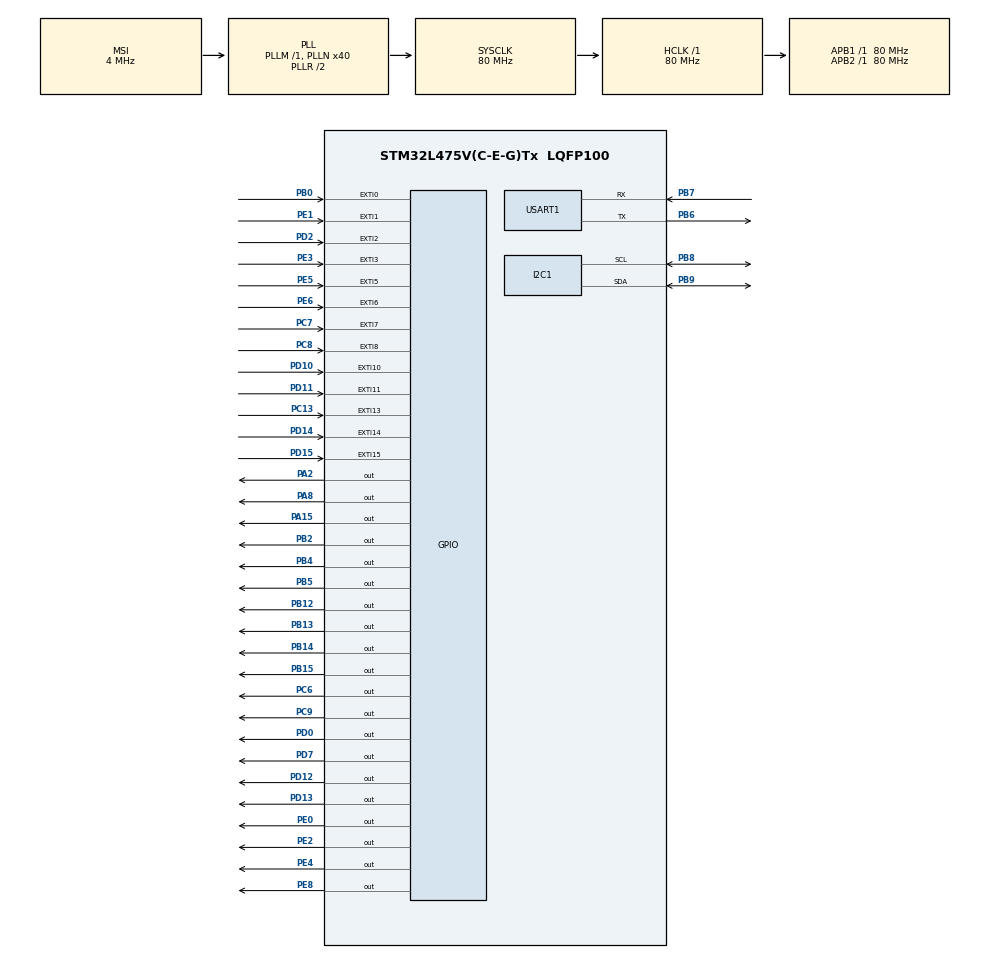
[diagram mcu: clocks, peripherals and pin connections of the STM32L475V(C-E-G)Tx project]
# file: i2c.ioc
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I2C1.Timing=0x10909CEC
Mcu.Family=STM32L4
Mcu.Name=STM32L475V(C-E-G)Tx
Mcu.Package=LQFP100
NVIC.EXTI15_10_IRQn=true\:0\:0\:false\:false\:true\:true\:true
NVIC.EXTI9_5_IRQn=true\:0\:0\:false\:false\:true\:true\:true
NVIC.PriorityGroup=NVIC_PRIORITYGROUP_4
PA0.GPIO_ModeDefaultPP=GPIO_MODE_AF_PP
PA0.GPIO_PuPd=GPIO_NOPULL
PA0.GPIO_Speed=GPIO_SPEED_FREQ_VERY_HIGH
PA0.Signal=UART4_TX
PA1.GPIO_ModeDefaultPP=GPIO_MODE_AF_PP
PA1.GPIO_PuPd=GPIO_NOPULL
PA1.GPIO_Speed=GPIO_SPEED_FREQ_VERY_HIGH
PA1.Signal=UART4_RX
PA10.GPIO_Mode=GPIO_MODE_AF_PP
PA10.GPIO_PuPd=GPIO_NOPULL
PA10.GPIO_Speed=GPIO_SPEED_FREQ_VERY_HIGH
PA10.Signal=USB_OTG_FS_ID
PA11.GPIO_Mode=GPIO_MODE_AF_PP
PA11.GPIO_PuPd=GPIO_NOPULL
PA11.GPIO_Speed=GPIO_SPEED_FREQ_VERY_HIGH
PA11.Signal=USB_OTG_FS_DM
PA12.GPIO_Mode=GPIO_MODE_AF_PP
PA12.GPIO_PuPd=GPIO_NOPULL
PA12.GPIO_Speed=GPIO_SPEED_FREQ_VERY_HIGH
PA12.Signal=USB_OTG_FS_DP
PA13\ (JTMS-SWDIO).Mode=Serial_Wire
PA13\ (JTMS-SWDIO).Signal=SYS_JTMS-SWDIO
PA14\ (JTCK-SWCLK).Mode=Serial_Wire
PA14\ (JTCK-SWCLK).Signal=SYS_JTCK-SWCLK
PA15\ (JTDI).GPIO_ModeDefaultOutputPP=GPIO_MODE_OUTPUT_PP
PA15\ (JTDI).GPIO_PuPd=GPIO_NOPULL
PA15\ (JTDI).GPIO_Speed=GPIO_SPEED_FREQ_LOW
PA15\ (JTDI).PinState=GPIO_PIN_RESET
PA15\ (JTDI).Signal=GPIO_Output
PA2.GPIO_ModeDefaultOutputPP=GPIO_MODE_OUTPUT_PP
PA2.GPIO_PuPd=GPIO_NOPULL
PA2.GPIO_Speed=GPIO_SPEED_FREQ_LOW
PA2.PinState=GPIO_PIN_RESET
PA2.Signal=GPIO_Output
PA3.GPIO_ModeDefaultPP=GPIO_MODE_AF_PP
PA3.GPIO_PuPd=GPIO_NOPULL
PA3.GPIO_Speed=GPIO_SPEED_FREQ_LOW
PA3.Signal=S_TIM2_CH4
PA4.GPIO_Mode=GPIO_MODE_ANALOG_ADC_CONTROL
PA4.GPIO_PuPd=GPIO_NOPULL
PA4.Signal=ADCx_IN9
PA5.GPIO_Mode=GPIO_MODE_AF_PP
PA5.GPIO_PuPd=GPIO_NOPULL
PA5.GPIO_Speed=GPIO_SPEED_FREQ_VERY_HIGH
PA5.Signal=SPI1_SCK
PA6.GPIO_Mode=GPIO_MODE_AF_PP
PA6.GPIO_PuPd=GPIO_NOPULL
PA6.GPIO_Speed=GPIO_SPEED_FREQ_VERY_HIGH
PA6.Signal=SPI1_MISO
PA7.GPIO_Mode=GPIO_MODE_AF_PP
PA7.GPIO_PuPd=GPIO_NOPULL
PA7.GPIO_Speed=GPIO_SPEED_FREQ_VERY_HIGH
PA7.Signal=SPI1_MOSI
PA8.GPIO_ModeDefaultOutputPP=GPIO_MODE_OUTPUT_PP
PA8.GPIO_PuPd=GPIO_NOPULL
PA8.GPIO_Speed=GPIO_SPEED_FREQ_LOW
PA8.PinState=GPIO_PIN_RESET
PA8.Signal=GPIO_Output
PA9.GPIO_Mode=GPIO_MODE_INPUT
PA9.GPIO_PuPd=GPIO_NOPULL
PA9.Signal=USB_OTG_FS_VBUS
PB0.GPIO_ModeDefaultEXTI=GPIO_MODE_IT_RISING
PB0.GPIO_PuPd=GPIO_NOPULL
PB0.Signal=GPXTI0
PB1.GPIO_Mode=GPIO_MODE_ANALOG_ADC_CONTROL
PB1.GPIO_PuPd=GPIO_NOPULL
PB1.Signal=ADCx_IN16
PB12.GPIO_ModeDefaultOutputPP=GPIO_MODE_OUTPUT_PP
PB12.GPIO_PuPd=GPIO_NOPULL
PB12.GPIO_Speed=GPIO_SPEED_FREQ_LOW
PB12.PinState=GPIO_PIN_RESET
PB12.Signal=GPIO_Output
PB13.GPIO_ModeDefaultOutputPP=GPIO_MODE_OUTPUT_PP
PB13.GPIO_PuPd=GPIO_NOPULL
PB13.GPIO_Speed=GPIO_SPEED_FREQ_LOW
PB13.PinState=GPIO_PIN_RESET
PB13.Signal=GPIO_Output
PB14.GPIO_ModeDefaultOutputPP=GPIO_MODE_OUTPUT_PP
PB14.GPIO_PuPd=GPIO_NOPULL
PB14.GPIO_Speed=GPIO_SPEED_FREQ_LOW
PB14.PinState=GPIO_PIN_RESET
PB14.Signal=GPIO_Output
PB15.GPIO_ModeDefaultOutputPP=GPIO_MODE_OUTPUT_PP
PB15.GPIO_PuPd=GPIO_NOPULL
PB15.GPIO_Speed=GPIO_SPEED_FREQ_LOW
PB15.PinState=GPIO_PIN_RESET
PB15.Signal=GPIO_Output
PB2.GPIO_ModeDefaultOutputPP=GPIO_MODE_OUTPUT_PP
PB2.GPIO_PuPd=GPIO_NOPULL
PB2.GPIO_Speed=GPIO_SPEED_FREQ_LOW
PB2.PinState=GPIO_PIN_RESET
PB2.Signal=GPIO_Output
PB3\ (JTDO-TRACESWO).Signal=SYS_JTDO-SWO
PB4\ (NJTRST).GPIO_ModeDefaultOutputPP=GPIO_MODE_OUTPUT_PP
PB4\ (NJTRST).GPIO_PuPd=GPIO_NOPULL
PB4\ (NJTRST).GPIO_Speed=GPIO_SPEED_FREQ_LOW
PB4\ (NJTRST).PinState=GPIO_PIN_RESET
PB4\ (NJTRST).Signal=GPIO_Output
PB5.GPIO_ModeDefaultOutputPP=GPIO_MODE_OUTPUT_PP
PB5.GPIO_PuPd=GPIO_NOPULL
PB5.GPIO_Speed=GPIO_SPEED_FREQ_LOW
PB5.PinState=GPIO_PIN_RESET
PB5.Signal=GPIO_Output
PB6.GPIO_FM6=__NULL
PB6.GPIO_ModeDefaultPP=GPIO_MODE_AF_PP
PB6.GPIO_PuPd=GPIO_NOPULL
PB6.GPIO_Speed=GPIO_SPEED_FREQ_VERY_HIGH
PB6.Mode=Asynchronous
PB6.Signal=USART1_TX
PB7.GPIO_FM7=__NULL
PB7.GPIO_ModeDefaultPP=GPIO_MODE_AF_PP
PB7.GPIO_PuPd=GPIO_NOPULL
PB7.GPIO_Speed=GPIO_SPEED_FREQ_VERY_HIGH
PB7.Mode=Asynchronous
PB7.Signal=USART1_RX
PB8.GPIO_Pu=GPIO_PULLUP
PB8.Mode=I2C
PB8.Signal=I2C1_SCL
PB9.GPIO_Pu=GPIO_PULLUP
PB9.Mode=I2C
PB9.Signal=I2C1_SDA
PC0.GPIO_Mode=GPIO_MODE_ANALOG_ADC_CONTROL
PC0.GPIO_PuPd=GPIO_NOPULL
PC0.Signal=ADCx_IN1
PC1.GPIO_Mode=GPIO_MODE_ANALOG_ADC_CONTROL
PC1.GPIO_PuPd=GPIO_NOPULL
PC1.Signal=ADCx_IN2
PC10.GPIO_Mode=GPIO_MODE_AF_PP
PC10.GPIO_PuPd=GPIO_NOPULL
PC10.GPIO_Speed=GPIO_SPEED_FREQ_VERY_HIGH
PC10.Signal=SPI3_SCK
PC11.GPIO_Mode=GPIO_MODE_AF_PP
PC11.GPIO_PuPd=GPIO_NOPULL
PC11.GPIO_Speed=GPIO_SPEED_FREQ_VERY_HIGH
PC11.Signal=SPI3_MISO
PC12.GPIO_Mode=GPIO_MODE_AF_PP
PC12.GPIO_PuPd=GPIO_NOPULL
PC12.GPIO_Speed=GPIO_SPEED_FREQ_VERY_HIGH
PC12.Signal=SPI3_MOSI
PC13.GPIO_ModeDefaultEXTI=GPIO_MODE_IT_RISING
PC13.GPIO_PuPd=GPIO_NOPULL
PC13.Signal=GPXTI13
PC14-OSC32_IN\ (PC14).Mode=LSE-External-Oscillator
PC14-OSC32_IN\ (PC14).Signal=RCC_OSC32_IN
PC15-OSC32_OUT\ (PC15).Mode=LSE-External-Oscillator
PC15-OSC32_OUT\ (PC15).Signal=RCC_OSC32_OUT
PC2.GPIO_Mode=GPIO_MODE_ANALOG_ADC_CONTROL
PC2.GPIO_PuPd=GPIO_NOPULL
PC2.Signal=ADCx_IN3
PC3.GPIO_Mode=GPIO_MODE_ANALOG_ADC_CONTROL
PC3.GPIO_PuPd=GPIO_NOPULL
PC3.Signal=ADCx_IN4
PC4.GPIO_Mode=GPIO_MODE_ANALOG_ADC_CONTROL
PC4.GPIO_PuPd=GPIO_NOPULL
PC4.Signal=ADCx_IN13
PC5.GPIO_Mode=GPIO_MODE_ANALOG_ADC_CONTROL
PC5.GPIO_PuPd=GPIO_NOPULL
PC5.Signal=ADCx_IN14
PC6.GPIO_ModeDefaultOutputPP=GPIO_MODE_OUTPUT_PP
PC6.GPIO_PuPd=GPIO_NOPULL
PC6.GPIO_Speed=GPIO_SPEED_FREQ_LOW
PC6.PinState=GPIO_PIN_RESET
PC6.Signal=GPIO_Output
PC7.GPIO_ModeDefaultEXTI=GPIO_MODE_IT_RISING
PC7.GPIO_PuPd=GPIO_NOPULL
PC7.Signal=GPXTI7
PC8.GPIO_ModeDefaultEXTI=GPIO_MODE_IT_RISING
PC8.GPIO_PuPd=GPIO_NOPULL
PC8.Signal=GPXTI8
PC9.GPIO_ModeDefaultOutputPP=GPIO_MODE_OUTPUT_PP
PC9.GPIO_PuPd=GPIO_NOPULL
PC9.GPIO_Speed=GPIO_SPEED_FREQ_LOW
PC9.PinState=GPIO_PIN_RESET
PC9.Signal=GPIO_Output
PD0.GPIO_ModeDefaultOutputPP=GPIO_MODE_OUTPUT_PP
PD0.GPIO_PuPd=GPIO_NOPULL
PD0.GPIO_Speed=GPIO_SPEED_FREQ_LOW
PD0.PinState=GPIO_PIN_RESET
PD0.Signal=GPIO_Output
PD1.GPIO_Mode=GPIO_MODE_AF_PP
PD1.GPIO_PuPd=GPIO_NOPULL
PD1.GPIO_Speed=GPIO_SPEED_FREQ_VERY_HIGH
PD1.Signal=SPI2_SCK
PD10.GPIO_ModeDefaultEXTI=GPIO_MODE_IT_RISING
PD10.GPIO_PuPd=GPIO_NOPULL
PD10.Signal=GPXTI10
PD11.GPIO_ModeDefaultEXTI=GPIO_MODE_IT_RISING
PD11.GPIO_PuPd=GPIO_NOPULL
PD11.Signal=GPXTI11
PD12.GPIO_ModeDefaultOutputPP=GPIO_MODE_OUTPUT_PP
PD12.GPIO_PuPd=GPIO_NOPULL
PD12.GPIO_Speed=GPIO_SPEED_FREQ_LOW
PD12.PinState=GPIO_PIN_RESET
PD12.Signal=GPIO_Output
PD13.GPIO_ModeDefaultOutputPP=GPIO_MODE_OUTPUT_PP
PD13.GPIO_PuPd=GPIO_NOPULL
PD13.GPIO_Speed=GPIO_SPEED_FREQ_LOW
PD13.PinState=GPIO_PIN_RESET
PD13.Signal=GPIO_Output
PD14.GPIO_ModeDefaultEXTI=GPIO_MODE_IT_RISING
PD14.GPIO_PuPd=GPIO_NOPULL
PD14.Signal=GPXTI14
PD15.GPIO_ModeDefaultEXTI=GPIO_MODE_IT_RISING
PD15.GPIO_PuPd=GPIO_NOPULL
PD15.Signal=GPXTI15
PD2.GPIO_ModeDefaultEXTI=GPIO_MODE_IT_RISING
PD2.GPIO_PuPd=GPIO_NOPULL
PD2.Signal=GPXTI2
PD3.GPIO_Mode=GPIO_MODE_AF_PP
PD3.GPIO_PuPd=GPIO_NOPULL
PD3.GPIO_Speed=GPIO_SPEED_FREQ_VERY_HIGH
PD3.Signal=USART2_CTS
PD4.GPIO_Mode=GPIO_MODE_AF_PP
PD4.GPIO_PuPd=GPIO_NOPULL
PD4.GPIO_Speed=GPIO_SPEED_FREQ_VERY_HIGH
PD4.Signal=USART2_RTS
PD5.GPIO_ModeDefaultPP=GPIO_MODE_AF_PP
PD5.GPIO_PuPd=GPIO_NOPULL
PD5.GPIO_Speed=GPIO_SPEED_FREQ_VERY_HIGH
PD5.Signal=USART2_TX
PD6.GPIO_ModeDefaultPP=GPIO_MODE_AF_PP
PD6.GPIO_PuPd=GPIO_NOPULL
PD6.GPIO_Speed=GPIO_SPEED_FREQ_VERY_HIGH
PD6.Signal=USART2_RX
PD7.GPIO_ModeDefaultOutputPP=GPIO_MODE_OUTPUT_PP
PD7.GPIO_PuPd=GPIO_NOPULL
PD7.GPIO_Speed=GPIO_SPEED_FREQ_LOW
PD7.PinState=GPIO_PIN_RESET
PD7.Signal=GPIO_Output
PD8.GPIO_ModeDefaultPP=GPIO_MODE_AF_PP
PD8.GPIO_PuPd=GPIO_NOPULL
PD8.GPIO_Speed=GPIO_SPEED_FREQ_VERY_HIGH
PD8.Signal=USART3_TX
PD9.GPIO_ModeDefaultPP=GPIO_MODE_AF_PP
PD9.GPIO_PuPd=GPIO_NOPULL
PD9.GPIO_Speed=GPIO_SPEED_FREQ_VERY_HIGH
PD9.Signal=USART3_RX
PE0.GPIO_ModeDefaultOutputPP=GPIO_MODE_OUTPUT_PP
PE0.GPIO_PuPd=GPIO_NOPULL
PE0.GPIO_Speed=GPIO_SPEED_FREQ_LOW
PE0.PinState=GPIO_PIN_RESET
PE0.Signal=GPIO_Output
PE1.GPIO_ModeDefaultEXTI=GPIO_MODE_IT_RISING
PE1.GPIO_PuPd=GPIO_NOPULL
PE1.Signal=GPXTI1
PE10.GPIO_Mode=GPIO_MODE_AF_PP
PE10.GPIO_PuPd=GPIO_NOPULL
PE10.GPIO_Speed=GPIO_SPEED_FREQ_VERY_HIGH
PE10.Signal=QUADSPI_CLK
PE11.GPIO_Mode=GPIO_MODE_AF_PP
PE11.GPIO_PuPd=GPIO_NOPULL
PE11.GPIO_Speed=GPIO_SPEED_FREQ_VERY_HIGH
PE11.Signal=QUADSPI_NCS
PE12.GPIO_Mode=GPIO_MODE_AF_PP
PE12.GPIO_PuPd=GPIO_NOPULL
PE12.GPIO_Speed=GPIO_SPEED_FREQ_VERY_HIGH
PE12.Signal=QUADSPI_BK1_IO0
PE13.GPIO_Mode=GPIO_MODE_AF_PP
PE13.GPIO_PuPd=GPIO_NOPULL
PE13.GPIO_Speed=GPIO_SPEED_FREQ_VERY_HIGH
PE13.Signal=QUADSPI_BK1_IO1
PE14.GPIO_Mode=GPIO_MODE_AF_PP
PE14.GPIO_PuPd=GPIO_NOPULL
PE14.GPIO_Speed=GPIO_SPEED_FREQ_VERY_HIGH
PE14.Signal=QUADSPI_BK1_IO2
PE15.GPIO_Mode=GPIO_MODE_AF_PP
PE15.GPIO_PuPd=GPIO_NOPULL
PE15.GPIO_Speed=GPIO_SPEED_FREQ_VERY_HIGH
PE15.Signal=QUADSPI_BK1_IO3
PE2.GPIO_ModeDefaultOutputPP=GPIO_MODE_OUTPUT_PP
PE2.GPIO_PuPd=GPIO_NOPULL
PE2.GPIO_Speed=GPIO_SPEED_FREQ_LOW
PE2.PinState=GPIO_PIN_RESET
PE2.Signal=GPIO_Output
PE3.GPIO_ModeDefaultEXTI=GPIO_MODE_IT_RISING
PE3.GPIO_PuPd=GPIO_NOPULL
PE3.Signal=GPXTI3
PE4.GPIO_ModeDefaultOutputPP=GPIO_MODE_OUTPUT_PP
PE4.GPIO_PuPd=GPIO_NOPULL
PE4.GPIO_Speed=GPIO_SPEED_FREQ_LOW
PE4.PinState=GPIO_PIN_RESET
PE4.Signal=GPIO_Output
PE5.GPIO_ModeDefaultEXTI=GPIO_MODE_IT_RISING
PE5.GPIO_PuPd=GPIO_NOPULL
PE5.Signal=GPXTI5
PE6.GPIO_ModeDefaultEXTI=GPIO_MODE_IT_RISING
PE6.GPIO_PuPd=GPIO_NOPULL
PE6.Signal=GPXTI6
PE7.GPIO_Mode=GPIO_MODE_AF_PP
PE7.GPIO_PuPd=GPIO_NOPULL
PE7.GPIO_Speed=GPIO_SPEED_FREQ_LOW
PE7.Signal=S_DATAIN2DFSDM1
PE8.GPIO_ModeDefaultOutputPP=GPIO_MODE_OUTPUT_PP
PE8.GPIO_PuPd=GPIO_NOPULL
PE8.GPIO_Speed=GPIO_SPEED_FREQ_LOW
PE8.PinState=GPIO_PIN_RESET
PE8.Signal=GPIO_Output
PE9.GPIO_Mode=GPIO_MODE_AF_PP
PE9.GPIO_PuPd=GPIO_NOPULL
PE9.GPIO_Speed=GPIO_SPEED_FREQ_LOW
PE9.Signal=S_CKOUTDFSDM1
ProjectManager.HeapSize=0x1000
ProjectManager.StackSize=0x1000
ProjectManager.TargetToolchain=STM32CubeIDE
RCC.ADCFreq_Value=48000000
RCC.AHBFreq_Value=80000000
RCC.APB1Freq_Value=80000000
RCC.APB1TimFreq_Value=80000000
RCC.APB2Freq_Value=80000000
RCC.APB2TimFreq_Value=80000000
RCC.CortexFreq_Value=80000000
RCC.HCLKFreq_Value=80000000
RCC.HSE_VALUE=8000000
RCC.HSI_VALUE=16000000
RCC.MSI_VALUE=4000000
RCC.PLLN=40
RCC.PLLSAI1N=24
RCC.SYSCLKFreq_VALUE=80000000
RCC.SYSCLKSource=RCC_SYSCLKSOURCE_PLLCLK
RCC.USBFreq_Value=48000000
RCC.VCOOutputFreq_Value=160000000
SH.ADCx_IN1.0=ADC1_IN1
SH.ADCx_IN13.0=ADC1_IN13
SH.ADCx_IN14.0=ADC1_IN14
SH.ADCx_IN16.0=ADC1_IN16
SH.ADCx_IN2.0=ADC1_IN2
SH.ADCx_IN3.0=ADC1_IN3
SH.ADCx_IN4.0=ADC1_IN4
SH.ADCx_IN9.0=ADC1_IN9
SH.S_CKOUTDFSDM1.0=DFSDM1_CKOUT
SH.S_DATAIN2DFSDM1.0=DFSDM1_DATIN2
SH.S_TIM2_CH4.0=TIM2_CH4
USART1.VirtualMode-Asynchronous=VM_ASYNC
board=B-L475E-IOT01A1

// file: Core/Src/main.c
/* USER CODE BEGIN Header */
/**
 ******************************************************************************
 * @file           : main.c
 * @brief          : Main program body
 ******************************************************************************
 * @attention
 *
 * <h2><center>&copy; Copyright (c) 2022 STMicroelectronics.
 * All rights reserved.</center></h2>
 *
 * This software component is licensed by ST under BSD 3-Clause license,
 * the "License"; You may not use this file except in compliance with the
 * License. You may obtain a copy of the License at:
 *                        opensource.org/licenses/BSD-3-Clause
 *
 ******************************************************************************
 */
/* USER CODE END Header */
#include "main.h"

/* USER CODE BEGIN Includes */
#include "bmi270.h"
#include "bmi2_defs.h"
#include "common_porting.h"
#include "string.h"
#include "stdio.h"
/* USER CODE END Includes */

/* USER CODE BEGIN PTD */
#define BUS_TIMEOUT             1000
#define READ_WRITE_LEN     UINT8_C(32)
/* USER CODE END PTD */

I2C_HandleTypeDef hi2c1;

UART_HandleTypeDef huart1;

/* USER CODE BEGIN PV */
struct bmi2_dev bmi270dev;
struct bmi2_feat_sensor_data sensor_data = { .type = BMI2_STEP_COUNTER };

uint8_t bmi270_dev_addr;
/* USER CODE END PV */

void SystemClock_Config(void);
static void MX_GPIO_Init(void);
static void MX_USART1_UART_Init(void);
static void MX_I2C1_Init(void);
int8_t SensorAPI_I2Cx_Read(uint8_t reg_addr, uint8_t *reg_data, uint32_t len, void *intf_ptr);
int8_t SensorAPI_I2Cx_Write(uint8_t reg_addr, const uint8_t *reg_data, uint32_t len, void *intf_ptr);

/* USER CODE BEGIN 0 */
int __io_putchar(int ch) {
	HAL_UART_Transmit(&huart1, (uint8_t*) &ch, 1, 0xFFFF);
	return ch;
}

void bmi2_error_codes_print_result(int8_t rslt) {
	switch (rslt) {
	case BMI2_OK:

		/* Do nothing */
		break;

	case BMI2_W_FIFO_EMPTY:
		PDEBUG("Warning [%d] : FIFO empty\r\n", rslt);
		break;
	case BMI2_W_PARTIAL_READ:
		PDEBUG("Warning [%d] : FIFO partial read\r\n", rslt);
		break;
	case BMI2_E_NULL_PTR:
		PDEBUG(
				"Error [%d] : Null pointer error. It occurs when the user tries to assign value (not address) to a pointer," " which has been initialized to NULL.\r\n",
				rslt);
		break;

	case BMI2_E_COM_FAIL:
		PDEBUG(
				"Error [%d] : Communication failure error. It occurs due to read/write operation failure and also due " "to power failure during communication\r\n",
				rslt);
		break;

	case BMI2_E_DEV_NOT_FOUND:
		PDEBUG(
				"Error [%d] : Device not found error. It occurs when the device chip id is incorrectly read\r\n",
				rslt);
		break;

	case BMI2_E_INVALID_SENSOR:
		PDEBUG(
				"Error [%d] : Invalid sensor error. It occurs when there is a mismatch in the requested feature with the " "available one\r\n",
				rslt);
		break;

	case BMI2_E_SELF_TEST_FAIL:
		PDEBUG(
				"Error [%d] : Self-test failed error. It occurs when the validation of accel self-test data is " "not satisfied\r\n",
				rslt);
		break;

	case BMI2_E_INVALID_INT_PIN:
		PDEBUG(
				"Error [%d] : Invalid interrupt pin error. It occurs when the user tries to configure interrupt pins " "apart from INT1 and INT2\r\n",
				rslt);
		break;

	case BMI2_E_OUT_OF_RANGE:
		PDEBUG(
				"Error [%d] : Out of range error. It occurs when the data exceeds from filtered or unfiltered data from " "fifo and also when the range exceeds the maximum range for accel and gyro while performing FOC\r\n",
				rslt);
		break;

	case BMI2_E_ACC_INVALID_CFG:
		PDEBUG(
				"Error [%d] : Invalid Accel configuration error. It occurs when there is an error in accel configuration" " register which could be one among range, BW or filter performance in reg address 0x40\r\n",
				rslt);
		break;

	case BMI2_E_GYRO_INVALID_CFG:
		PDEBUG(
				"Error [%d] : Invalid Gyro configuration error. It occurs when there is a error in gyro configuration" "register which could be one among range, BW or filter performance in reg address 0x42\r\n",
				rslt);
		break;

	case BMI2_E_ACC_GYR_INVALID_CFG:
		PDEBUG(
				"Error [%d] : Invalid Accel-Gyro configuration error. It occurs when there is a error in accel and gyro" " configuration registers which could be one among range, BW or filter performance in reg address 0x40 " "and 0x42\r\n",
				rslt);
		break;

	case BMI2_E_CONFIG_LOAD:
		PDEBUG(
				"Error [%d] : Configuration load error. It occurs when failure observed while loading the configuration " "into the sensor\r\n",
				rslt);
		break;

	case BMI2_E_INVALID_PAGE:
		PDEBUG(
				"Error [%d] : Invalid page error. It occurs due to failure in writing the correct feature configuration " "from selected page\r\n",
				rslt);
		break;

	case BMI2_E_SET_APS_FAIL:
		PDEBUG(
				"Error [%d] : APS failure error. It occurs due to failure in write of advance power mode configuration " "register\r\n",
				rslt);
		break;

	case BMI2_E_AUX_INVALID_CFG:
		PDEBUG(
				"Error [%d] : Invalid AUX configuration error. It occurs when the auxiliary interface settings are not " "enabled properly\r\n",
				rslt);
		break;

	case BMI2_E_AUX_BUSY:
		PDEBUG(
				"Error [%d] : AUX busy error. It occurs when the auxiliary interface buses are engaged while configuring" " the AUX\r\n",
				rslt);
		break;

	case BMI2_E_REMAP_ERROR:
		PDEBUG(
				"Error [%d] : Remap error. It occurs due to failure in assigning the remap axes data for all the axes " "after change in axis position\r\n",
				rslt);
		break;

	case BMI2_E_GYR_USER_GAIN_UPD_FAIL:
		PDEBUG(
				"Error [%d] : Gyro user gain update fail error. It occurs when the reading of user gain update status " "fails\r\n",
				rslt);
		break;

	case BMI2_E_SELF_TEST_NOT_DONE:
		PDEBUG(
				"Error [%d] : Self-test not done error. It occurs when the self-test process is ongoing or not " "completed\r\n",
				rslt);
		break;

	case BMI2_E_INVALID_INPUT:
		PDEBUG(
				"Error [%d] : Invalid input error. It occurs when the sensor input validity fails\r\n",
				rslt);
		break;

	case BMI2_E_INVALID_STATUS:
		PDEBUG(
				"Error [%d] : Invalid status error. It occurs when the feature/sensor validity fails\r\n",
				rslt);
		break;

	case BMI2_E_CRT_ERROR:
		PDEBUG(
				"Error [%d] : CRT error. It occurs when the CRT test has failed\r\n",
				rslt);
		break;

	case BMI2_E_ST_ALREADY_RUNNING:
		PDEBUG(
				"Error [%d] : Self-test already running error. It occurs when the self-test is already running and " "another has been initiated\r\n",
				rslt);
		break;

	case BMI2_E_CRT_READY_FOR_DL_FAIL_ABORT:
		PDEBUG(
				"Error [%d] : CRT ready for download fail abort error. It occurs when download in CRT fails due to wrong " "address location\r\n",
				rslt);
		break;

	case BMI2_E_DL_ERROR:
		printf(
				"Error [%d] : Download error. It occurs when write length exceeds that of the maximum burst length\r\n",
				rslt);
		break;

	case BMI2_E_PRECON_ERROR:
		PDEBUG(
				"Error [%d] : Pre-conditional error. It occurs when precondition to start the feature was not " "completed\r\n",
				rslt);
		break;

	case BMI2_E_ABORT_ERROR:
		PDEBUG(
				"Error [%d] : Abort error. It occurs when the device was shaken during CRT test\r\n",
				rslt);
		break;

	case BMI2_E_WRITE_CYCLE_ONGOING:
		PDEBUG(
				"Error [%d] : Write cycle ongoing error. It occurs when the write cycle is already running and another " "has been initiated\r\n",
				rslt);
		break;

	case BMI2_E_ST_NOT_RUNING:
		PDEBUG(
				"Error [%d] : Self-test is not running error. It occurs when self-test running is disabled while it's " "running\r\n",
				rslt);
		break;

	case BMI2_E_DATA_RDY_INT_FAILED:
		PDEBUG(
				"Error [%d] : Data ready interrupt error. It occurs when the sample count exceeds the FOC sample limit " "and data ready status is not updated\r\n",
				rslt);
		break;

	case BMI2_E_INVALID_FOC_POSITION:
		PDEBUG(
				"Error [%d] : Invalid FOC position error. It occurs when average FOC data is obtained for the wrong" " axes\r\n",
				rslt);
		break;

	default:
		PDEBUG("Error [%d] : Unknown error code\r\n", rslt);
		break;
	}
}

/*!
 *  @brief Function to select the interface between SPI and I2C.
 *  Also to initialize coines platform
 */
int8_t bmi2_interface_init(struct bmi2_dev *bmi, uint8_t intf) {
	int8_t rslt = BMI2_OK;

	/* Bus configuration : I2C */
	if (intf == BMI2_I2C_INTF) {
		PDEBUG("I2C Interface \n");

		/* To initialize the user I2C function */
		bmi270_dev_addr = BMI2_I2C_PRIM_ADDR;
		bmi->intf = BMI2_I2C_INTF;
		bmi->read = (bmi2_read_fptr_t) SensorAPI_I2Cx_Read;
		bmi->write = (bmi2_write_fptr_t) SensorAPI_I2Cx_Write;
	}

	/* Assign device address to interface pointer */
	bmi->intf_ptr = &bmi270_dev_addr;

	/* Configure delay in microseconds */
	bmi->delay_us = bmi2_delay_us;

	/* Configure max read/write length (in bytes) ( Supported length depends on target machine) */
	bmi->read_write_len = READ_WRITE_LEN;

	/* Assign to NULL to load the default config file. */
	bmi->config_file_ptr = NULL;

	return rslt;
}

int8_t Init_BMI270(struct bmi2_dev *dev) {
	int8_t rslt = BMI2_OK;
	uint8_t chipid;
	uint8_t ver_major, ver_minor;

	/* Interface reference is given as a parameter
	 * For I2C : BMI2_I2C_INTF
	 * For SPI : BMI2_SPI_INTF
	 */
	rslt = bmi2_interface_init(dev, BMI2_I2C_INTF);
	bmi2_error_codes_print_result(rslt);

	/* Initialize bmi270. */
	rslt = bmi270_init(dev);
	bmi2_error_codes_print_result(rslt);

	if (rslt != BMI2_OK) {
		PDEBUG("bmi270_wh_init() failed, error code: %d\r\n", rslt);
		return rslt;
	} else {
		rslt = bmi2_get_regs(BMI2_CHIP_ID_ADDR, &chipid, 1, dev);
		if (rslt != BMI2_OK) {
			PDEBUG("read chip ID failed, error code: %d\r\n", rslt);
			return rslt;
		}

		PDEBUG("Chip ID:%02x\r\n", chipid);
	}

	PDEBUG("BMI270 initialized successfully\r\n");

	rslt = bmi2_get_config_file_version(&ver_major, &ver_minor, dev);
	PDEBUG("The firmware version: v%d.%d\r\n", ver_major, ver_minor);

	/*Axis mapping according phisical structure*/

	return rslt;
}
int8_t bmi2_step_counter_set_config(struct bmi2_dev *bmi2_dev) {
	/* Variable to define result */
	int8_t rslt;

	/* Initialize interrupts for gyroscope */
	struct bmi2_sens_int_config sens_int = { .type = BMI2_STEP_COUNTER,
			.hw_int_pin = BMI2_INT2 };

	/* List the sensors which are required to enable */
	uint8_t sens_list[2] = { BMI2_ACCEL, BMI2_STEP_COUNTER };

	/* Structure to define the type of the sensor and its configurations */
	struct bmi2_sens_config config;

	/* Configure type of feature */
	config.type = BMI2_STEP_COUNTER;

	/* Enable the selected sensors */
	rslt = bmi2_sensor_enable(sens_list, 2, bmi2_dev);

	if (rslt == BMI2_OK) {
		/* Get default configurations for the type of feature selected */
		rslt = bmi2_get_sensor_config(&config, 1, bmi2_dev);

		if (rslt == BMI2_OK) {
			config.cfg.step_counter.watermark_level = 1;

			rslt = bmi2_set_sensor_config(&config, 1, bmi2_dev);
			if (rslt == BMI2_OK) {
				/* Map interrupt to pins */
				rslt = bmi270_map_feat_int(&sens_int, 1, bmi2_dev);
			} else {
				printf("Set Sensor Config failed");
			}

		} else {
			printf("Get sensor config failed");
		}
	} else {
		printf("Sensor Enable Failed");
	}

	return rslt;
}

int8_t SensorAPI_I2Cx_Read(uint8_t reg_addr, uint8_t *reg_data, uint32_t len, void *intf_ptr)
{
	uint8_t dev_addr = *(uint8_t*)intf_ptr;
	uint16_t DevAddress = dev_addr << 1;

	// send register address
	HAL_I2C_Master_Transmit(&I2C_HANDLE, DevAddress, &reg_addr, 1, BUS_TIMEOUT);
	HAL_I2C_Master_Receive(&I2C_HANDLE, DevAddress, reg_data, len, BUS_TIMEOUT);
	return 0;
}

int8_t SensorAPI_I2Cx_Write(uint8_t reg_addr, const uint8_t *reg_data, uint32_t len, void *intf_ptr)
{
	uint8_t dev_addr = *(uint8_t*)intf_ptr;
	uint16_t DevAddress = dev_addr << 1;

	uint8_t buf[len + 1];
	buf[0] = reg_addr;
	memcpy(&buf[1], reg_data, len);

	// send register address
	HAL_I2C_Master_Transmit(&I2C_HANDLE, DevAddress, buf, len+1, BUS_TIMEOUT);
	return 0;
}

/* USER CODE END 0 */

int main(void)
{

  /* MCU Configuration--------------------------------------------------------*/

  /* Reset of all peripherals, Initializes the Flash interface and the Systick. */
  HAL_Init();

  /* Configure the system clock */
  SystemClock_Config();

  /* Initialize all configured peripherals */
  MX_GPIO_Init();
  MX_USART1_UART_Init();
  MX_I2C1_Init();
  /* USER CODE BEGIN 2 */
	int8_t rslt = BMI2_OK;

	/* Interface reference is given as a parameter
	 * For I2C : BMI2_I2C_INTF
	 * For SPI : BMI2_SPI_INTF
	 */
	struct bmi2_dev *dev;
	dev = &bmi270dev;

	bmi270_dev_addr = BMI2_I2C_PRIM_ADDR;
	dev->intf = BMI2_I2C_INTF;
	dev->read = (bmi2_read_fptr_t)SensorAPI_I2Cx_Read;
	dev->write = (bmi2_write_fptr_t)SensorAPI_I2Cx_Write;

	/* Assign device address to interface pointer */
	dev->intf_ptr = &bmi270_dev_addr;

	/* Configure delay in microseconds */
	dev->delay_us = bmi2_delay_us;

	/* Configure max read/write length (in bytes) ( Supported length depends on target machine) */
	dev->read_write_len = READ_WRITE_LEN;

	/* Assign to NULL to load the default config file. */
	dev->config_file_ptr = NULL;

	/* Initialize bmi270. */
	rslt = bmi270_init(dev);
	bmi2_error_codes_print_result(rslt);

  /* USER CODE END 2 */

  /* Infinite loop */
	while (1) {

	}
}

void SystemClock_Config(void)
{
  RCC_OscInitTypeDef RCC_OscInitStruct = {0};
  RCC_ClkInitTypeDef RCC_ClkInitStruct = {0};

  /** Configure the main internal regulator output voltage
  */
  if (HAL_PWREx_ControlVoltageScaling(PWR_REGULATOR_VOLTAGE_SCALE1) != HAL_OK)
  {
    Error_Handler();
  }
  /** Configure LSE Drive Capability
  */
  HAL_PWR_EnableBkUpAccess();
  __HAL_RCC_LSEDRIVE_CONFIG(RCC_LSEDRIVE_LOW);
  /** Initializes the RCC Oscillators according to the specified parameters
  * in the RCC_OscInitTypeDef structure.
  */
  RCC_OscInitStruct.OscillatorType = RCC_OSCILLATORTYPE_LSE|RCC_OSCILLATORTYPE_MSI;
  RCC_OscInitStruct.LSEState = RCC_LSE_ON;
  RCC_OscInitStruct.MSIState = RCC_MSI_ON;
  RCC_OscInitStruct.MSICalibrationValue = 0;
  RCC_OscInitStruct.MSIClockRange = RCC_MSIRANGE_6;
  RCC_OscInitStruct.PLL.PLLState = RCC_PLL_ON;
  RCC_OscInitStruct.PLL.PLLSource = RCC_PLLSOURCE_MSI;
  RCC_OscInitStruct.PLL.PLLM = 1;
  RCC_OscInitStruct.PLL.PLLN = 40;
  RCC_OscInitStruct.PLL.PLLP = RCC_PLLP_DIV7;
  RCC_OscInitStruct.PLL.PLLQ = RCC_PLLQ_DIV2;
  RCC_OscInitStruct.PLL.PLLR = RCC_PLLR_DIV2;
  if (HAL_RCC_OscConfig(&RCC_OscInitStruct) != HAL_OK)
  {
    Error_Handler();
  }
  /** Initializes the CPU, AHB and APB buses clocks
  */
  RCC_ClkInitStruct.ClockType = RCC_CLOCKTYPE_HCLK|RCC_CLOCKTYPE_SYSCLK
                              |RCC_CLOCKTYPE_PCLK1|RCC_CLOCKTYPE_PCLK2;
  RCC_ClkInitStruct.SYSCLKSource = RCC_SYSCLKSOURCE_PLLCLK;
  RCC_ClkInitStruct.AHBCLKDivider = RCC_SYSCLK_DIV1;
  RCC_ClkInitStruct.APB1CLKDivider = RCC_HCLK_DIV1;
  RCC_ClkInitStruct.APB2CLKDivider = RCC_HCLK_DIV1;

  if (HAL_RCC_ClockConfig(&RCC_ClkInitStruct, FLASH_LATENCY_4) != HAL_OK)
  {
    Error_Handler();
  }
  /** Enable MSI Auto calibration
  */
  HAL_RCCEx_EnableMSIPLLMode();
}

static void MX_I2C1_Init(void)
{

  hi2c1.Instance = I2C1;
  hi2c1.Init.Timing = 0x10909CEC;
  hi2c1.Init.OwnAddress1 = 0;
  hi2c1.Init.AddressingMode = I2C_ADDRESSINGMODE_7BIT;
  hi2c1.Init.DualAddressMode = I2C_DUALADDRESS_DISABLE;
  hi2c1.Init.OwnAddress2 = 0;
  hi2c1.Init.OwnAddress2Masks = I2C_OA2_NOMASK;
  hi2c1.Init.GeneralCallMode = I2C_GENERALCALL_DISABLE;
  hi2c1.Init.NoStretchMode = I2C_NOSTRETCH_DISABLE;
  if (HAL_I2C_Init(&hi2c1) != HAL_OK)
  {
    Error_Handler();
  }
  /** Configure Analogue filter
  */
  if (HAL_I2CEx_ConfigAnalogFilter(&hi2c1, I2C_ANALOGFILTER_ENABLE) != HAL_OK)
  {
    Error_Handler();
  }
  /** Configure Digital filter
  */
  if (HAL_I2CEx_ConfigDigitalFilter(&hi2c1, 0) != HAL_OK)
  {
    Error_Handler();
  }

}

static void MX_USART1_UART_Init(void)
{

  huart1.Instance = USART1;
  huart1.Init.BaudRate = 115200;
  huart1.Init.WordLength = UART_WORDLENGTH_8B;
  huart1.Init.StopBits = UART_STOPBITS_1;
  huart1.Init.Parity = UART_PARITY_NONE;
  huart1.Init.Mode = UART_MODE_TX_RX;
  huart1.Init.HwFlowCtl = UART_HWCONTROL_NONE;
  huart1.Init.OverSampling = UART_OVERSAMPLING_16;
  huart1.Init.OneBitSampling = UART_ONE_BIT_SAMPLE_DISABLE;
  huart1.AdvancedInit.AdvFeatureInit = UART_ADVFEATURE_NO_INIT;
  if (HAL_UART_Init(&huart1) != HAL_OK)
  {
    Error_Handler();
  }

}

static void MX_GPIO_Init(void)
{
  GPIO_InitTypeDef GPIO_InitStruct = {0};

  /* GPIO Ports Clock Enable */
  __HAL_RCC_GPIOE_CLK_ENABLE();
  __HAL_RCC_GPIOC_CLK_ENABLE();
  __HAL_RCC_GPIOA_CLK_ENABLE();
  __HAL_RCC_GPIOB_CLK_ENABLE();
  __HAL_RCC_GPIOD_CLK_ENABLE();

  /*Configure GPIO pin Output Level */
  HAL_GPIO_WritePin(GPIOE, GPIO_PIN_2|GPIO_PIN_4|GPIO_PIN_8|GPIO_PIN_0, GPIO_PIN_RESET);

  /*Configure GPIO pin Output Level */
  HAL_GPIO_WritePin(GPIOA, GPIO_PIN_2|GPIO_PIN_8|GPIO_PIN_15, GPIO_PIN_RESET);

  /*Configure GPIO pin Output Level */
  HAL_GPIO_WritePin(GPIOB, GPIO_PIN_2|GPIO_PIN_12|GPIO_PIN_13|GPIO_PIN_14
                          |GPIO_PIN_15|GPIO_PIN_4|GPIO_PIN_5, GPIO_PIN_RESET);

  /*Configure GPIO pin Output Level */
  HAL_GPIO_WritePin(GPIOD, GPIO_PIN_12|GPIO_PIN_13|GPIO_PIN_0|GPIO_PIN_7, GPIO_PIN_RESET);

  /*Configure GPIO pin Output Level */
  HAL_GPIO_WritePin(GPIOC, GPIO_PIN_6|GPIO_PIN_9, GPIO_PIN_RESET);

  /*Configure GPIO pins : PE2 PE4 PE8 PE0 */
  GPIO_InitStruct.Pin = GPIO_PIN_2|GPIO_PIN_4|GPIO_PIN_8|GPIO_PIN_0;
  GPIO_InitStruct.Mode = GPIO_MODE_OUTPUT_PP;
  GPIO_InitStruct.Pull = GPIO_NOPULL;
  GPIO_InitStruct.Speed = GPIO_SPEED_FREQ_LOW;
  HAL_GPIO_Init(GPIOE, &GPIO_InitStruct);

  /*Configure GPIO pins : PE3 PE5 PE6 PE1 */
  GPIO_InitStruct.Pin = GPIO_PIN_3|GPIO_PIN_5|GPIO_PIN_6|GPIO_PIN_1;
  GPIO_InitStruct.Mode = GPIO_MODE_IT_RISING;
  GPIO_InitStruct.Pull = GPIO_NOPULL;
  HAL_GPIO_Init(GPIOE, &GPIO_InitStruct);

  /*Configure GPIO pins : PC13 PC7 PC8 */
  GPIO_InitStruct.Pin = GPIO_PIN_13|GPIO_PIN_7|GPIO_PIN_8;
  GPIO_InitStruct.Mode = GPIO_MODE_IT_RISING;
  GPIO_InitStruct.Pull = GPIO_NOPULL;
  HAL_GPIO_Init(GPIOC, &GPIO_InitStruct);

  /*Configure GPIO pins : PC0 PC1 PC2 PC3
                           PC4 PC5 */
  GPIO_InitStruct.Pin = GPIO_PIN_0|GPIO_PIN_1|GPIO_PIN_2|GPIO_PIN_3
                          |GPIO_PIN_4|GPIO_PIN_5;
  GPIO_InitStruct.Mode = GPIO_MODE_ANALOG_ADC_CONTROL;
  GPIO_InitStruct.Pull = GPIO_NOPULL;
  HAL_GPIO_Init(GPIOC, &GPIO_InitStruct);

  /*Configure GPIO pins : PA0 PA1 */
  GPIO_InitStruct.Pin = GPIO_PIN_0|GPIO_PIN_1;
  GPIO_InitStruct.Mode = GPIO_MODE_AF_PP;
  GPIO_InitStruct.Pull = GPIO_NOPULL;
  GPIO_InitStruct.Speed = GPIO_SPEED_FREQ_VERY_HIGH;
  GPIO_InitStruct.Alternate = GPIO_AF8_UART4;
  HAL_GPIO_Init(GPIOA, &GPIO_InitStruct);

  /*Configure GPIO pins : PA2 PA8 PA15 */
  GPIO_InitStruct.Pin = GPIO_PIN_2|GPIO_PIN_8|GPIO_PIN_15;
  GPIO_InitStruct.Mode = GPIO_MODE_OUTPUT_PP;
  GPIO_InitStruct.Pull = GPIO_NOPULL;
  GPIO_InitStruct.Speed = GPIO_SPEED_FREQ_LOW;
  HAL_GPIO_Init(GPIOA, &GPIO_InitStruct);

  /*Configure GPIO pin : PA3 */
  GPIO_InitStruct.Pin = GPIO_PIN_3;
  GPIO_InitStruct.Mode = GPIO_MODE_AF_PP;
  GPIO_InitStruct.Pull = GPIO_NOPULL;
  GPIO_InitStruct.Speed = GPIO_SPEED_FREQ_LOW;
  GPIO_InitStruct.Alternate = GPIO_AF1_TIM2;
  HAL_GPIO_Init(GPIOA, &GPIO_InitStruct);

  /*Configure GPIO pin : PA4 */
  GPIO_InitStruct.Pin = GPIO_PIN_4;
  GPIO_InitStruct.Mode = GPIO_MODE_ANALOG_ADC_CONTROL;
  GPIO_InitStruct.Pull = GPIO_NOPULL;
  HAL_GPIO_Init(GPIOA, &GPIO_InitStruct);

  /*Configure GPIO pins : PA5 PA6 PA7 */
  GPIO_InitStruct.Pin = GPIO_PIN_5|GPIO_PIN_6|GPIO_PIN_7;
  GPIO_InitStruct.Mode = GPIO_MODE_AF_PP;
  GPIO_InitStruct.Pull = GPIO_NOPULL;
  GPIO_InitStruct.Speed = GPIO_SPEED_FREQ_VERY_HIGH;
  GPIO_InitStruct.Alternate = GPIO_AF5_SPI1;
  HAL_GPIO_Init(GPIOA, &GPIO_InitStruct);

  /*Configure GPIO pin : PB0 */
  GPIO_InitStruct.Pin = GPIO_PIN_0;
  GPIO_InitStruct.Mode = GPIO_MODE_IT_RISING;
  GPIO_InitStruct.Pull = GPIO_NOPULL;
  HAL_GPIO_Init(GPIOB, &GPIO_InitStruct);

  /*Configure GPIO pin : PB1 */
  GPIO_InitStruct.Pin = GPIO_PIN_1;
  GPIO_InitStruct.Mode = GPIO_MODE_ANALOG_ADC_CONTROL;
  GPIO_InitStruct.Pull = GPIO_NOPULL;
  HAL_GPIO_Init(GPIOB, &GPIO_InitStruct);

  /*Configure GPIO pins : PB2 PB12 PB13 PB14
                           PB15 PB4 PB5 */
  GPIO_InitStruct.Pin = GPIO_PIN_2|GPIO_PIN_12|GPIO_PIN_13|GPIO_PIN_14
                          |GPIO_PIN_15|GPIO_PIN_4|GPIO_PIN_5;
  GPIO_InitStruct.Mode = GPIO_MODE_OUTPUT_PP;
  GPIO_InitStruct.Pull = GPIO_NOPULL;
  GPIO_InitStruct.Speed = GPIO_SPEED_FREQ_LOW;
  HAL_GPIO_Init(GPIOB, &GPIO_InitStruct);

  /*Configure GPIO pins : PE7 PE9 */
  GPIO_InitStruct.Pin = GPIO_PIN_7|GPIO_PIN_9;
  GPIO_InitStruct.Mode = GPIO_MODE_AF_PP;
  GPIO_InitStruct.Pull = GPIO_NOPULL;
  GPIO_InitStruct.Speed = GPIO_SPEED_FREQ_LOW;
  GPIO_InitStruct.Alternate = GPIO_AF6_DFSDM1;
  HAL_GPIO_Init(GPIOE, &GPIO_InitStruct);

  /*Configure GPIO pins : PE10 PE11 PE12 PE13
                           PE14 PE15 */
  GPIO_InitStruct.Pin = GPIO_PIN_10|GPIO_PIN_11|GPIO_PIN_12|GPIO_PIN_13
                          |GPIO_PIN_14|GPIO_PIN_15;
  GPIO_InitStruct.Mode = GPIO_MODE_AF_PP;
  GPIO_InitStruct.Pull = GPIO_NOPULL;
  GPIO_InitStruct.Speed = GPIO_SPEED_FREQ_VERY_HIGH;
  GPIO_InitStruct.Alternate = GPIO_AF10_QUADSPI;
  HAL_GPIO_Init(GPIOE, &GPIO_InitStruct);

  /*Configure GPIO pins : PD8 PD9 */
  GPIO_InitStruct.Pin = GPIO_PIN_8|GPIO_PIN_9;
  GPIO_InitStruct.Mode = GPIO_MODE_AF_PP;
  GPIO_InitStruct.Pull = GPIO_NOPULL;
  GPIO_InitStruct.Speed = GPIO_SPEED_FREQ_VERY_HIGH;
  GPIO_InitStruct.Alternate = GPIO_AF7_USART3;
  HAL_GPIO_Init(GPIOD, &GPIO_InitStruct);

  /*Configure GPIO pins : PD10 PD11 PD14 PD15
                           PD2 */
  GPIO_InitStruct.Pin = GPIO_PIN_10|GPIO_PIN_11|GPIO_PIN_14|GPIO_PIN_15
                          |GPIO_PIN_2;
  GPIO_InitStruct.Mode = GPIO_MODE_IT_RISING;
  GPIO_InitStruct.Pull = GPIO_NOPULL;
  HAL_GPIO_Init(GPIOD, &GPIO_InitStruct);

  /*Configure GPIO pins : PD12 PD13 PD0 PD7 */
  GPIO_InitStruct.Pin = GPIO_PIN_12|GPIO_PIN_13|GPIO_PIN_0|GPIO_PIN_7;
  GPIO_InitStruct.Mode = GPIO_MODE_OUTPUT_PP;
  GPIO_InitStruct.Pull = GPIO_NOPULL;
  GPIO_InitStruct.Speed = GPIO_SPEED_FREQ_LOW;
  HAL_GPIO_Init(GPIOD, &GPIO_InitStruct);

  /*Configure GPIO pins : PC6 PC9 */
  GPIO_InitStruct.Pin = GPIO_PIN_6|GPIO_PIN_9;
  GPIO_InitStruct.Mode = GPIO_MODE_OUTPUT_PP;
  GPIO_InitStruct.Pull = GPIO_NOPULL;
  GPIO_InitStruct.Speed = GPIO_SPEED_FREQ_LOW;
  HAL_GPIO_Init(GPIOC, &GPIO_InitStruct);

  /*Configure GPIO pin : PA9 */
  GPIO_InitStruct.Pin = GPIO_PIN_9;
  GPIO_InitStruct.Mode = GPIO_MODE_INPUT;
  GPIO_InitStruct.Pull = GPIO_NOPULL;
  HAL_GPIO_Init(GPIOA, &GPIO_InitStruct);

  /*Configure GPIO pins : PA10 PA11 PA12 */
  GPIO_InitStruct.Pin = GPIO_PIN_10|GPIO_PIN_11|GPIO_PIN_12;
  GPIO_InitStruct.Mode = GPIO_MODE_AF_PP;
  GPIO_InitStruct.Pull = GPIO_NOPULL;
  GPIO_InitStruct.Speed = GPIO_SPEED_FREQ_VERY_HIGH;
  GPIO_InitStruct.Alternate = GPIO_AF10_OTG_FS;
  HAL_GPIO_Init(GPIOA, &GPIO_InitStruct);

  /*Configure GPIO pins : PC10 PC11 PC12 */
  GPIO_InitStruct.Pin = GPIO_PIN_10|GPIO_PIN_11|GPIO_PIN_12;
  GPIO_InitStruct.Mode = GPIO_MODE_AF_PP;
  GPIO_InitStruct.Pull = GPIO_NOPULL;
  GPIO_InitStruct.Speed = GPIO_SPEED_FREQ_VERY_HIGH;
  GPIO_InitStruct.Alternate = GPIO_AF6_SPI3;
  HAL_GPIO_Init(GPIOC, &GPIO_InitStruct);

  /*Configure GPIO pin : PD1 */
  GPIO_InitStruct.Pin = GPIO_PIN_1;
  GPIO_InitStruct.Mode = GPIO_MODE_AF_PP;
  GPIO_InitStruct.Pull = GPIO_NOPULL;
  GPIO_InitStruct.Speed = GPIO_SPEED_FREQ_VERY_HIGH;
  GPIO_InitStruct.Alternate = GPIO_AF5_SPI2;
  HAL_GPIO_Init(GPIOD, &GPIO_InitStruct);

  /*Configure GPIO pins : PD3 PD4 PD5 PD6 */
  GPIO_InitStruct.Pin = GPIO_PIN_3|GPIO_PIN_4|GPIO_PIN_5|GPIO_PIN_6;
  GPIO_InitStruct.Mode = GPIO_MODE_AF_PP;
  GPIO_InitStruct.Pull = GPIO_NOPULL;
  GPIO_InitStruct.Speed = GPIO_SPEED_FREQ_VERY_HIGH;
  GPIO_InitStruct.Alternate = GPIO_AF7_USART2;
  HAL_GPIO_Init(GPIOD, &GPIO_InitStruct);

  /* EXTI interrupt init*/
  HAL_NVIC_SetPriority(EXTI9_5_IRQn, 0, 0);
  HAL_NVIC_EnableIRQ(EXTI9_5_IRQn);

  HAL_NVIC_SetPriority(EXTI15_10_IRQn, 0, 0);
  HAL_NVIC_EnableIRQ(EXTI15_10_IRQn);

}

void Error_Handler(void)
{
}
